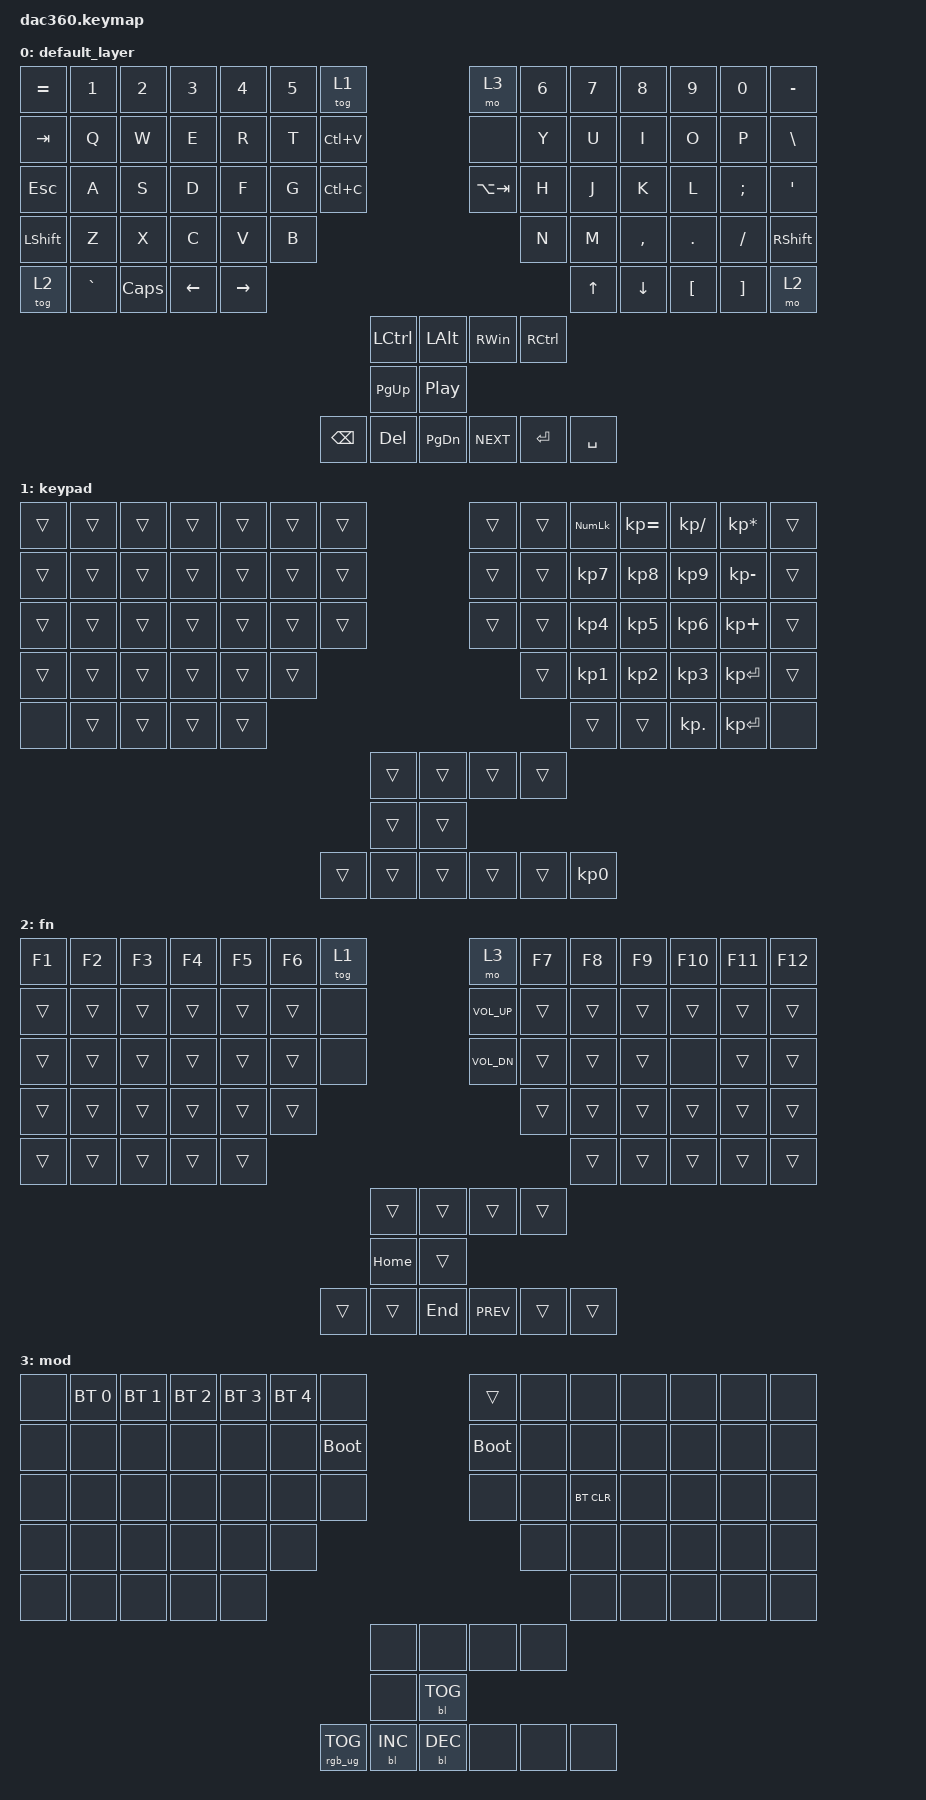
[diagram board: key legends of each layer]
#include <behaviors.dtsi>
#include <dt-bindings/zmk/backlight.h>
#include <dt-bindings/zmk/bt.h>
#include <dt-bindings/zmk/keys.h>
#include <dt-bindings/zmk/rgb.h>

/ {
    keymap {
        compatible = "zmk,keymap";

        default_layer {
            bindings = <
&kp EQUAL       &kp N1     &kp N2        &kp N3    &kp N4     &kp N5  &tog 1                                                                          &mo 3        &kp N6  &kp N7        &kp N8          &kp N9            &kp N0    &kp MINUS
&kp TAB         &kp Q      &kp W         &kp E     &kp R      &kp T   &kp LC(V)                                                                       &none        &kp Y   &kp U         &kp I           &kp O             &kp P     &kp BSLH
&kp ESC         &kp A      &kp S         &kp D     &kp F      &kp G   &kp LC(C)                                                                       &kp LA(TAB)  &kp H   &kp J         &kp K           &kp L             &kp SEMI  &kp SQT
&kp LEFT_SHIFT  &kp Z      &kp X         &kp C     &kp V      &kp B                                                                                                &kp N   &kp M         &kp COMMA       &kp DOT           &kp FSLH  &kp RSHFT
&tog 2          &kp GRAVE  &kp CAPSLOCK  &kp LEFT  &kp RIGHT                                                                                                               &kp UP_ARROW  &kp DOWN_ARROW  &kp LEFT_BRACKET  &kp RBKT  &mo 2
                                                                                                &kp LCTRL   &kp LALT     &kp RIGHT_WIN     &kp RCTRL
                                                                                                            &kp PG_UP    &kp C_PLAY_PAUSE
                                                                                 &kp BACKSPACE  &kp DELETE  &kp PG_DN    &kp C_NEXT        &kp ENTER  &kp SPACE
            >;
        };

        keypad {
            bindings = <
&trans  &trans  &trans  &trans  &trans  &trans  &trans                                            &trans           &trans  &kp KP_NUMLOCK  &kp KP_EQUAL  &kp KP_SLASH  &kp KP_ASTERISK  &trans
&trans  &trans  &trans  &trans  &trans  &trans  &trans                                            &trans           &trans  &kp KP_N7       &kp KP_N8     &kp KP_N9     &kp KP_MINUS     &trans
&trans  &trans  &trans  &trans  &trans  &trans  &trans                                            &trans           &trans  &kp KP_N4       &kp KP_N5     &kp KP_N6     &kp KP_PLUS      &trans
&trans  &trans  &trans  &trans  &trans  &trans                                                                     &trans  &kp KP_N1       &kp KP_N2     &kp KP_N3     &kp KP_ENTER     &trans
&none   &trans  &trans  &trans  &trans                                                                                     &trans          &trans        &kp KP_DOT    &kp KP_ENTER     &none
                                                                &trans  &trans    &trans  &trans
                                                                        &trans    &trans
                                                        &trans  &trans  &trans    &trans  &trans  &kp KP_NUMBER_0
            >;
        };

        fn {
            bindings = <
&kp F1  &kp F2  &kp F3  &kp F4  &kp F5  &kp F6  &tog 1                                                  &mo 3            &kp F7  &kp F8  &kp F9  &kp F10  &kp F11  &kp F12
&trans  &trans  &trans  &trans  &trans  &trans  &none                                                   &kp C_VOLUME_UP  &trans  &trans  &trans  &trans   &trans   &trans
&trans  &trans  &trans  &trans  &trans  &trans  &none                                                   &kp C_VOL_DN     &trans  &trans  &trans  &none    &trans   &trans
&trans  &trans  &trans  &trans  &trans  &trans                                                                           &trans  &trans  &trans  &trans   &trans   &trans
&trans  &trans  &trans  &trans  &trans                                                                                           &trans  &trans  &trans   &trans   &trans
                                                                &trans  &trans      &trans      &trans
                                                                        &kp HOME    &trans
                                                        &trans  &trans  &kp END     &kp C_PREV  &trans  &trans
            >;
        };

        mod {
            bindings = <
&none  &bt BT_SEL 0  &bt BT_SEL 1  &bt BT_SEL 2  &bt BT_SEL 3  &bt BT_SEL 4  &none                                                                      &trans       &none  &none       &none  &none  &none  &none
&none  &none         &none         &none         &none         &none         &bootloader                                                                &bootloader  &none  &none       &none  &none  &none  &none
&none  &none         &none         &none         &none         &none         &none                                                                      &none        &none  &bt BT_CLR  &none  &none  &none  &none
&none  &none         &none         &none         &none         &none                                                                                                 &none  &none       &none  &none  &none  &none
&none  &none         &none         &none         &none                                                                                                                      &none       &none  &none  &none  &none
                                                                                                           &none       &none         &none       &none
                                                                                                                       &none         &bl BL_TOG
                                                                                          &rgb_ug RGB_TOG  &bl BL_INC  &bl BL_DEC    &none       &none  &none
            >;
        };
    };
};
